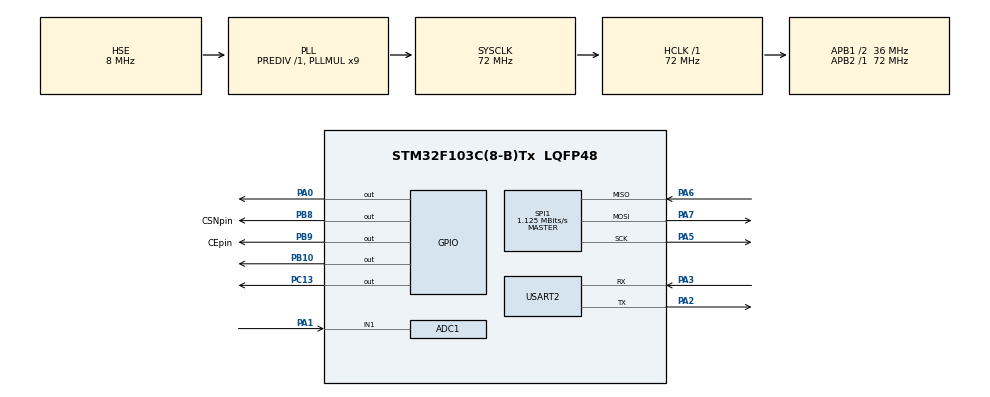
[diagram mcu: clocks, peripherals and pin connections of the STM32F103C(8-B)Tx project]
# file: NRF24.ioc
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Mcu.Family=STM32F1
RCC.PLLSourceVirtual=RCC_PLLSOURCE_HSE
NVIC.ADC1_2_IRQn=true\:2\:0\:true\:false\:true\:true\:true
PA6.Mode=Full_Duplex_Master
ADC1.Rank-0\#ChannelRegularConversion=1
PA7.Mode=Full_Duplex_Master
PD1-OSC_OUT.Mode=HSE-External-Oscillator
PB9.GPIO_Label=CEpin
SPI1.VirtualType=VM_MASTER
ADC1.ContinuousConvMode=ENABLE
PC13-TAMPER-RTC.Signal=GPIO_Output
PD0-OSC_IN.Signal=RCC_OSC_IN
RCC.APB1CLKDivider=RCC_HCLK_DIV2
RCC.SYSCLKSource=RCC_SYSCLKSOURCE_PLLCLK
ProjectManager.StackSize=0x400
PA0-WKUP.Signal=GPIO_Output
PD1-OSC_OUT.Signal=RCC_OSC_OUT
RCC.ADCPresc=RCC_ADCPCLK2_DIV6
PA13.Signal=SYS_JTMS-SWDIO
PA3.Mode=Asynchronous
PB8.GPIO_Label=CSNpin
ProjectManager.TargetToolchain=STM32CubeIDE
SPI1.Direction=SPI_DIRECTION_2LINES
RCC.HCLKFreq_Value=72000000
RCC.APB2TimFreq_Value=72000000
SPI1.CalculateBaudRate=1.125 MBits/s
RCC.USBFreq_Value=72000000
PA1.Signal=ADCx_IN1
RCC.AHBFreq_Value=72000000
PD0-OSC_IN.Mode=HSE-External-Oscillator
PB10.Signal=GPIO_Output
PA5.Signal=SPI1_SCK
ADC1.Channel-0\#ChannelRegularConversion=ADC_CHANNEL_1
board=custom
RCC.PLLMUL=RCC_PLL_MUL9
RCC.APB2Freq_Value=72000000
SPI1.Mode=SPI_MODE_MASTER
PA14.Mode=Serial_Wire
PA13.Mode=Serial_Wire
Mcu.Name=STM32F103C(8-B)Tx
ADC1.SamplingTime-0\#ChannelRegularConversion=ADC_SAMPLETIME_239CYCLES_5
PA2.Signal=USART2_TX
RCC.SYSCLKFreq_VALUE=72000000
Mcu.Package=LQFP48
PB9.Signal=GPIO_Output
PA6.Signal=SPI1_MISO
ADC1.master=1
USART2.VirtualMode=VM_ASYNC
PA14.Signal=SYS_JTCK-SWCLK
ProjectManager.HeapSize=0x200
NVIC.PriorityGroup=NVIC_PRIORITYGROUP_4
ADC1.NbrOfConversionFlag=1
SH.ADCx_IN1.0=ADC1_IN1,IN1
RCC.APB1TimFreq_Value=72000000
PA2.Mode=Asynchronous
PB8.Signal=GPIO_Output
RCC.APB1Freq_Value=36000000
SPI1.BaudRatePrescaler=SPI_BAUDRATEPRESCALER_64
PA3.Signal=USART2_RX
PA5.Mode=Full_Duplex_Master
PA7.Signal=SPI1_MOSI

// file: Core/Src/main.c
/* USER CODE BEGIN Header */
/**
 ******************************************************************************
 * @file           : main.c
 * @brief          : Main program body
 ******************************************************************************
 * @attention
 *
 * <h2><center>&copy; Copyright (c) 2022 STMicroelectronics.
 * All rights reserved.</center></h2>
 *
 * This software component is licensed by ST under BSD 3-Clause license,
 * the "License"; You may not use this file except in compliance with the
 * License. You may obtain a copy of the License at:
 *                        opensource.org/licenses/BSD-3-Clause
 *
 ******************************************************************************
 */
/* USER CODE END Header */
#include "main.h"

/* USER CODE BEGIN Includes */
#include "MY_NRF24.h"
#include <stdio.h>
#include <stdint.h>
#include <string.h>
#include "DHT.h"
/* USER CODE END Includes */

ADC_HandleTypeDef hadc1;

SPI_HandleTypeDef hspi1;

UART_HandleTypeDef huart2;

void SystemClock_Config(void);
static void MX_GPIO_Init(void);
static void MX_SPI1_Init(void);
static void MX_USART2_UART_Init(void);
static void MX_ADC1_Init(void);

/* USER CODE BEGIN 0 */

uint64_t Txaddrs = 0x11223344AA;
char myTx[32] = "HELLO THONG";
char str[10];
char null;

/* USER CODE END 0 */

int main(void) {

	/* MCU Configuration--------------------------------------------------------*/

	/* Reset of all peripherals, Initializes the Flash interface and the Systick. */
	HAL_Init();

	/* Configure the system clock */
	SystemClock_Config();

	/* Initialize all configured peripherals */
	MX_GPIO_Init();
	MX_SPI1_Init();
	MX_USART2_UART_Init();
	MX_ADC1_Init();
	/* USER CODE BEGIN 2 */

	HAL_ADC_Start_IT(&hadc1);

	NRF24_begin(GPIOB, CSNpin_Pin, CEpin_Pin, hspi1);
	nrf24_DebugUART_Init(huart2);
	printRadioSettings();
//  NRF24_begin(GPIOB, GPIO_PIN_8, GPIO_PIN_9,hspi1);
//  nrf24_DebugUART_Init(huart2);
//  printRadioSettings();

// *** TRANSMIT ***
	NRF24_stopListening();
	NRF24_openWritingPipe(Txaddrs);
	NRF24_setAutoAck(false);
	NRF24_setChannel(52);
	NRF24_setPayloadSize(32);
	// ***RECEIVE
//  NRF24_setAutoAck(true);
//  NRF24_setChannel(52);
//  NRF24_setPayloadSize(32);
//  NRF24_openReadingPipe(1, Rxaddrs) // HOW MANY TX
//  NRF24_startListening();

	/* USER CODE END 2 */

	/* Infinite loop */
	/* USER CODE BEGIN WHILE */
	while (1) {
		if (NRF24_write(myTx, sizeof(myTx))) {
			HAL_GPIO_TogglePin(GPIOC, GPIO_PIN_13);

		}

		HAL_Delay(2000);

//		for(int i =0; i<sizeof(myTx);i++){
//			myTx[i]=null;
//		}
//	  if(NRF24_available()){
//		  NRF24_read(myRx,sizeof(myRx));
//	  }
		/* USER CODE END WHILE */

	}
}

void SystemClock_Config(void) {
	RCC_OscInitTypeDef RCC_OscInitStruct = { 0 };
	RCC_ClkInitTypeDef RCC_ClkInitStruct = { 0 };
	RCC_PeriphCLKInitTypeDef PeriphClkInit = { 0 };

	/** Initializes the RCC Oscillators according to the specified parameters
	 * in the RCC_OscInitTypeDef structure.
	 */
	RCC_OscInitStruct.OscillatorType = RCC_OSCILLATORTYPE_HSE;
	RCC_OscInitStruct.HSEState = RCC_HSE_ON;
	RCC_OscInitStruct.HSEPredivValue = RCC_HSE_PREDIV_DIV1;
	RCC_OscInitStruct.HSIState = RCC_HSI_ON;
	RCC_OscInitStruct.PLL.PLLState = RCC_PLL_ON;
	RCC_OscInitStruct.PLL.PLLSource = RCC_PLLSOURCE_HSE;
	RCC_OscInitStruct.PLL.PLLMUL = RCC_PLL_MUL9;
	if (HAL_RCC_OscConfig(&RCC_OscInitStruct) != HAL_OK) {
		Error_Handler();
	}
	/** Initializes the CPU, AHB and APB buses clocks
	 */
	RCC_ClkInitStruct.ClockType = RCC_CLOCKTYPE_HCLK | RCC_CLOCKTYPE_SYSCLK
			| RCC_CLOCKTYPE_PCLK1 | RCC_CLOCKTYPE_PCLK2;
	RCC_ClkInitStruct.SYSCLKSource = RCC_SYSCLKSOURCE_PLLCLK;
	RCC_ClkInitStruct.AHBCLKDivider = RCC_SYSCLK_DIV1;
	RCC_ClkInitStruct.APB1CLKDivider = RCC_HCLK_DIV2;
	RCC_ClkInitStruct.APB2CLKDivider = RCC_HCLK_DIV1;

	if (HAL_RCC_ClockConfig(&RCC_ClkInitStruct, FLASH_LATENCY_2) != HAL_OK) {
		Error_Handler();
	}
	PeriphClkInit.PeriphClockSelection = RCC_PERIPHCLK_ADC;
	PeriphClkInit.AdcClockSelection = RCC_ADCPCLK2_DIV6;
	if (HAL_RCCEx_PeriphCLKConfig(&PeriphClkInit) != HAL_OK) {
		Error_Handler();
	}
}

static void MX_ADC1_Init(void) {

	ADC_ChannelConfTypeDef sConfig = { 0 };

	/** Common config
	 */
	hadc1.Instance = ADC1;
	hadc1.Init.ScanConvMode = ADC_SCAN_DISABLE;
	hadc1.Init.ContinuousConvMode = ENABLE;
	hadc1.Init.DiscontinuousConvMode = DISABLE;
	hadc1.Init.ExternalTrigConv = ADC_SOFTWARE_START;
	hadc1.Init.DataAlign = ADC_DATAALIGN_RIGHT;
	hadc1.Init.NbrOfConversion = 1;
	if (HAL_ADC_Init(&hadc1) != HAL_OK) {
		Error_Handler();
	}
	/** Configure Regular Channel
	 */
	sConfig.Channel = ADC_CHANNEL_1;
	sConfig.Rank = ADC_REGULAR_RANK_1;
	sConfig.SamplingTime = ADC_SAMPLETIME_239CYCLES_5;
	if (HAL_ADC_ConfigChannel(&hadc1, &sConfig) != HAL_OK) {
		Error_Handler();
	}

}

static void MX_SPI1_Init(void) {

	/* SPI1 parameter configuration*/
	hspi1.Instance = SPI1;
	hspi1.Init.Mode = SPI_MODE_MASTER;
	hspi1.Init.Direction = SPI_DIRECTION_2LINES;
	hspi1.Init.DataSize = SPI_DATASIZE_8BIT;
	hspi1.Init.CLKPolarity = SPI_POLARITY_LOW;
	hspi1.Init.CLKPhase = SPI_PHASE_1EDGE;
	hspi1.Init.NSS = SPI_NSS_SOFT;
	hspi1.Init.BaudRatePrescaler = SPI_BAUDRATEPRESCALER_64;
	hspi1.Init.FirstBit = SPI_FIRSTBIT_MSB;
	hspi1.Init.TIMode = SPI_TIMODE_DISABLE;
	hspi1.Init.CRCCalculation = SPI_CRCCALCULATION_DISABLE;
	hspi1.Init.CRCPolynomial = 10;
	if (HAL_SPI_Init(&hspi1) != HAL_OK) {
		Error_Handler();
	}

}

static void MX_USART2_UART_Init(void) {

	huart2.Instance = USART2;
	huart2.Init.BaudRate = 115200;
	huart2.Init.WordLength = UART_WORDLENGTH_8B;
	huart2.Init.StopBits = UART_STOPBITS_1;
	huart2.Init.Parity = UART_PARITY_NONE;
	huart2.Init.Mode = UART_MODE_TX_RX;
	huart2.Init.HwFlowCtl = UART_HWCONTROL_NONE;
	huart2.Init.OverSampling = UART_OVERSAMPLING_16;
	if (HAL_UART_Init(&huart2) != HAL_OK) {
		Error_Handler();
	}

}

static void MX_GPIO_Init(void) {
	GPIO_InitTypeDef GPIO_InitStruct = { 0 };

	/* GPIO Ports Clock Enable */
	__HAL_RCC_GPIOC_CLK_ENABLE();
	__HAL_RCC_GPIOD_CLK_ENABLE();
	__HAL_RCC_GPIOA_CLK_ENABLE();
	__HAL_RCC_GPIOB_CLK_ENABLE();

	/*Configure GPIO pin Output Level */
	HAL_GPIO_WritePin(GPIOC, GPIO_PIN_13, GPIO_PIN_RESET);

	/*Configure GPIO pin Output Level */
	HAL_GPIO_WritePin(GPIOA, GPIO_PIN_0, GPIO_PIN_RESET);

	/*Configure GPIO pin Output Level */
	HAL_GPIO_WritePin(GPIOB, GPIO_PIN_10 | CSNpin_Pin | CEpin_Pin,
			GPIO_PIN_RESET);

	/*Configure GPIO pin : PC13 */
	GPIO_InitStruct.Pin = GPIO_PIN_13;
	GPIO_InitStruct.Mode = GPIO_MODE_OUTPUT_PP;
	GPIO_InitStruct.Pull = GPIO_NOPULL;
	GPIO_InitStruct.Speed = GPIO_SPEED_FREQ_LOW;
	HAL_GPIO_Init(GPIOC, &GPIO_InitStruct);

	/*Configure GPIO pin : PA0 */
	GPIO_InitStruct.Pin = GPIO_PIN_0;
	GPIO_InitStruct.Mode = GPIO_MODE_OUTPUT_PP;
	GPIO_InitStruct.Pull = GPIO_NOPULL;
	GPIO_InitStruct.Speed = GPIO_SPEED_FREQ_LOW;
	HAL_GPIO_Init(GPIOA, &GPIO_InitStruct);

	/*Configure GPIO pins : PB10 CSNpin_Pin CEpin_Pin */
	GPIO_InitStruct.Pin = GPIO_PIN_10 | CSNpin_Pin | CEpin_Pin;
	GPIO_InitStruct.Mode = GPIO_MODE_OUTPUT_PP;
	GPIO_InitStruct.Pull = GPIO_NOPULL;
	GPIO_InitStruct.Speed = GPIO_SPEED_FREQ_LOW;
	HAL_GPIO_Init(GPIOB, &GPIO_InitStruct);

}

void Error_Handler(void) {
	__disable_irq();
	while (1) {
	}
}

/************************ (C) COPYRIGHT STMicroelectronics *****END OF FILE****/
